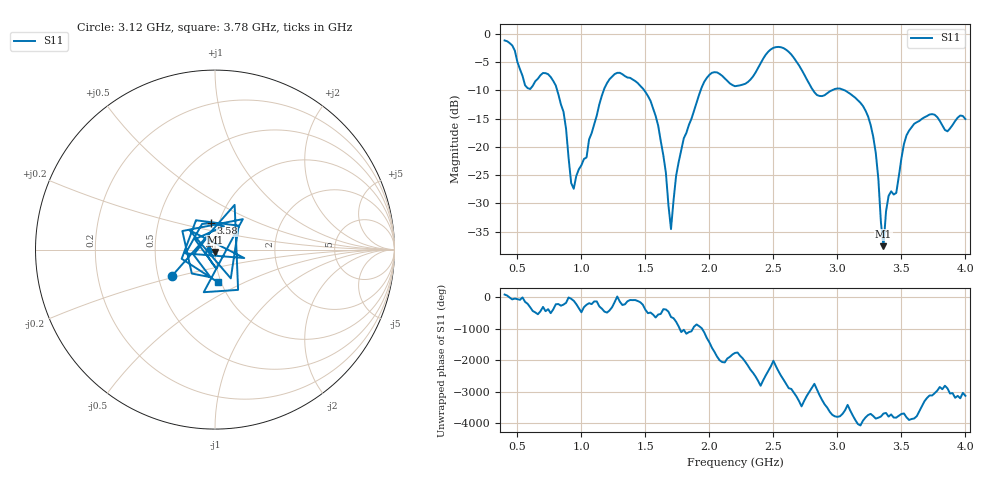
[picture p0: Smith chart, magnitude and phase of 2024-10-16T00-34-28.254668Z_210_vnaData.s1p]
! Created with skrf (http://scikit-rf.org).
# Hz S RI R 50.0
!freq ReS11 ImS11
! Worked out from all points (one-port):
!   181 points, 400 MHz to 4 GHz, reference 50 ohm
!   lowest |S11| = -37.6 dB at 3.36 GHz (marker M1), VSWR 1.03, Z = 50 - j1.32 ohm
!   |S11| at or under -10 dB: 811 MHz to 1.174 GHz (363.2 MHz wide, 36.6 % of centre); 1.491 GHz to 1.932 GHz (440.6 MHz wide, 25.7 % of centre); 3.058 GHz to end of sweep (the widest 3 of 4)
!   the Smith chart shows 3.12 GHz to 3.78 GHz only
!   S11 on the Smith chart (normalised r, x): 3.12 GHz: 0.59, -0.19; 3.58 GHz: 0.91, +0.28; 3.78 GHz: 0.97, -0.37
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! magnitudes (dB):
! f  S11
! 400 MHz  -1.2
! 560 MHz  -9.1
! 740 MHz  -7.1
! 860 MHz  -13.8
! 920 MHz  -26.4
! 940 MHz  -27.4
! 1.18 GHz  -9.6
! 1.3 GHz  -6.9
! 1.58 GHz  -14.5
! 1.66 GHz  -24.6
! 1.7 GHz  -34.5
! 1.76 GHz  -22.7
! 1.98 GHz  -7.8
! 2.2 GHz  -9.3
! 2.5 GHz  -2.5
! 2.66 GHz  -4.3
! 2.84 GHz  -10.8
! 3.1 GHz  -10.6
! 3.12 GHz  -11.0
! 3.28 GHz  -18.2
! 3.36 GHz  -37.6
! 3.4 GHz  -28.7
! 3.46 GHz  -28.1
! 3.56 GHz  -17.1
! 3.58 GHz  -16.5
! 3.78 GHz  -14.7
! 3.86 GHz  -17.2
! 4 GHz  -15.1
